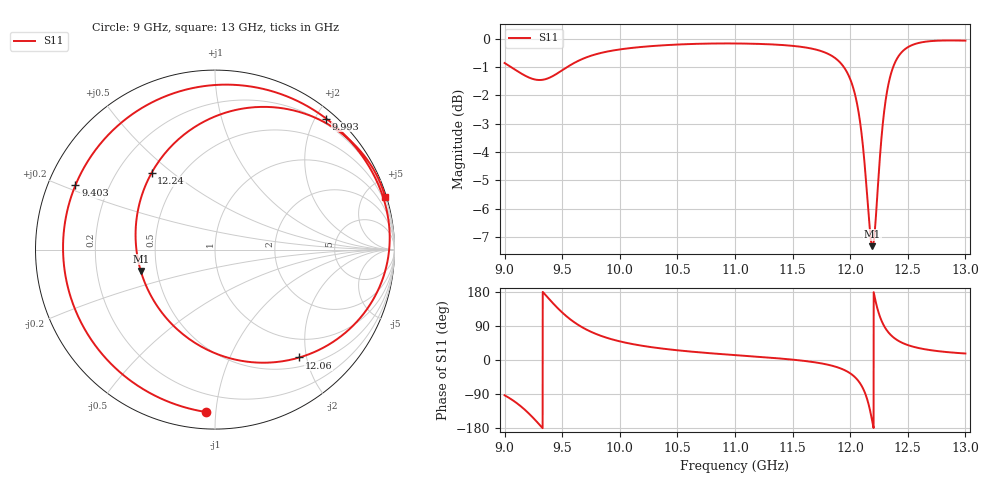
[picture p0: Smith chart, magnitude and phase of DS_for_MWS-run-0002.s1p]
! TOUCHSTONE file generated by CST DESIGN STUDIO
! Date and time: Tue Feb  4 17:47:12 2025
! Project name: C:\Work\MatlabApps\UnitCellOptimizationMatlab\CST\unitcell.cst
! Tree item: Tasks\Sweep1\SPara1\S-Parameters
! Header version: 2024
! Port assignment regex: !\s*Touchstone port\s*([0-9]+)\s*=\s*(CST MWS port|CST DES external port|CST DES block port)\s*(.+)\s* \(\"(.*)\"\)(\s*mode\s*([0-9]+))?.*
! Touchstone port assignment:
! Touchstone port 1 = CST DES external port 1 ("")
# GHz S MA R 50
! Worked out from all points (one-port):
!   4001 points, 9 GHz to 13 GHz, reference 50 ohm
!   lowest |S11| = -7.3 dB at 12.19 GHz (marker M1), VSWR 2.51, Z = 20.2 - j5.94 ohm
!   |S11| at or under -10 dB: nowhere
!   S11 on the Smith chart (normalised r, x): 9 GHz: 0.09, -0.94; 9.403 GHz: 0.08, +0.22; 9.993 GHz: 0.12, +2.15; 12.06 GHz: 0.65, -1.87; 12.24 GHz: 0.34, +0.43; 13 GHz: 0.17, +6.63
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9  0.9064 -93.1
9.101  0.8795 -112.7
9.189  0.8586 -135.0
9.303  0.8458 -170.7
9.403  0.8563 155.3
9.5  0.88 125.4
9.58  0.9008 105.0
9.672  0.9207 86.6
9.82  0.9424 65.6
9.993  0.9573 49.7
10  0.9578 49.2
10.5  0.977 25.6
11  0.9813 12.9
11.5  0.9718 0.9
11.834  0.9348 -14.4
12  0.849 -35.2
12.062  0.7634 -51.9
12.134  0.572 -91.3
12.163  0.4779 -120.9
12.193  0.4304 -163.9
12.217  0.4667 159.9
12.242  0.5548 129.5
12.28  0.6982 98.3
12.323  0.814 76.3
12.4  0.9176 54.1
12.5  0.9664 39.4
12.683  0.99 26.6
13  0.9927 17.1
